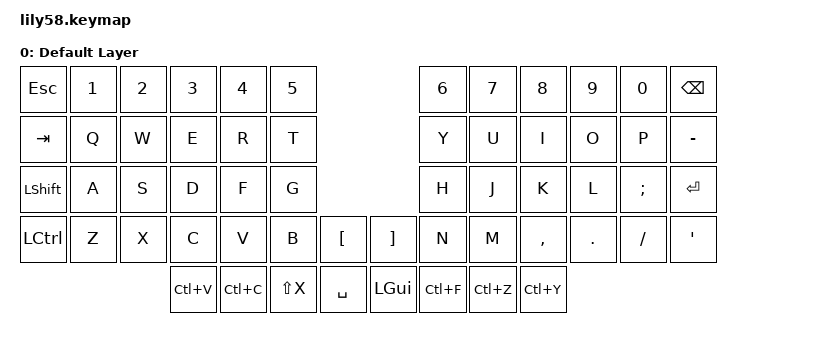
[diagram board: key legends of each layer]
/*
 * Copyright (c) 2020 The ZMK Contributors
 *
 * SPDX-License-Identifier: MIT
 */

#include <behaviors.dtsi>
#include <dt-bindings/zmk/keys.h>

/ {
    keymap {
        compatible = "zmk,keymap";

        default_layer {
            display-name = "Default Layer";

            // ------------------------------------------------------------------------------------------------------------
            // |  ESC  |  1  |  2  |  3   |  4   |  5   |                   |  6   |  7    |  8    |  9   |   0   |   `   |
            // |  TAB  |  Q  |  W  |  E   |  R   |  T   |                   |  Y   |  U    |  I    |  O   |   P   |   -   |
            // |  CTRL |  A  |  S  |  D   |  F   |  G   |                   |  H   |  J    |  K    |  L   |   ;   |   '   |
            // | SHIFT |  Z  |  X  |  C   |  V   |  B   |   "["  |  |  "]"  |  N   |  M    |  ,    |  .   |   /   | SHIFT |
            //                     | ALT  | GUI  | LOWER|  SPACE |  | ENTER | RAISE| BSPC  | GUI   |

            bindings = <
&kp ESC           &kp N1  &kp N2  &kp N3     &kp N4     &kp N5                                &kp N6     &kp N7     &kp N8     &kp N9   &kp N0    &kp BACKSPACE
&kp TAB           &kp Q   &kp W   &kp E      &kp R      &kp T                                 &kp Y      &kp U      &kp I      &kp O    &kp P     &kp MINUS
&kp LEFT_SHIFT    &kp A   &kp S   &kp D      &kp F      &kp G                                 &kp H      &kp J      &kp K      &kp L    &kp SEMI  &kp ENTER
&kp LEFT_CONTROL  &kp Z   &kp X   &kp C      &kp V      &kp B      &kp LBKT     &kp RBKT      &kp N      &kp M      &kp COMMA  &kp DOT  &kp FSLH  &kp SINGLE_QUOTE
                                  &kp LC(V)  &kp LC(C)  &kp LS(X)  &kp SPACE    &kp LEFT_GUI  &kp LC(F)  &kp LC(Z)  &kp LC(Y)
            >;
        };
    };
};
